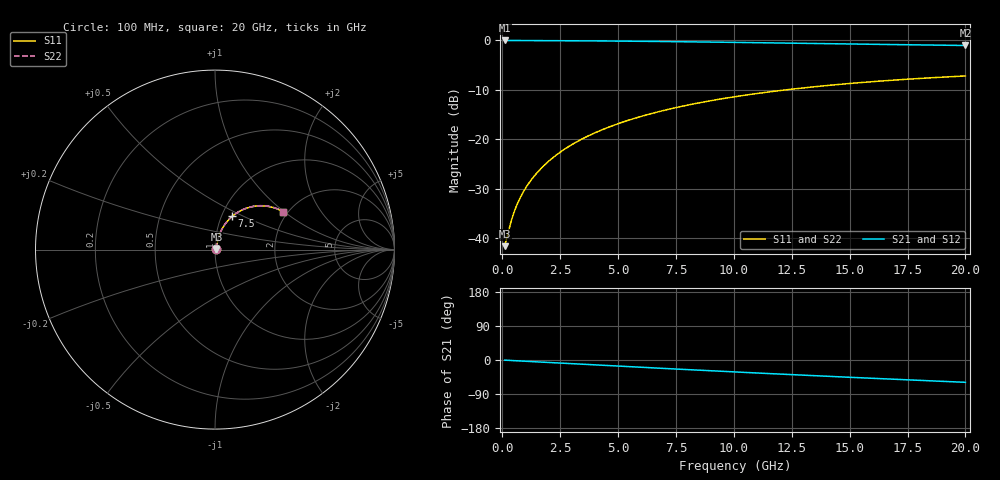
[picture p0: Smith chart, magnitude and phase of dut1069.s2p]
! Touchstone file exported from HFSS 2026.1.0
!  File:  C:/ffzhzh/LocalFiles/Ansys_Project_Files/temp_train_TMRDL_1069_1783160688_55132.aedt
!  Generated:  06:26:17 PM Jul  4, 2026
!  Design:  TMRDL
!  Project:  temp_train_TMRDL_1069_1783160688_55132
! Variables:
!  h_bsmrdl = 2um
!  h_ox = 20um
!  h_rdl = 5um
!  h_sub = 80um
!  h_tmrdl = 2.41um
!  h_tsv = 80um
!  h_via = 3um
!  l_bsmrdl = 300um
!  l_sub = 1354.18um
!  l_tmrdl = 954.18um
!  m_sub = 200um
!  pitch = 35.47um
!  r_tsv = 6um
!  s_tmrdl = 10um
!  w_bsmrdl = 18um
!  w_sub = 500um
!  w_tmrdl = 18.55um
!  x_tsv_center1 = 963.455um
!  x_tsv_center2 = 1281.455um
!  x_tsv_center3 = 2254.185um
!  x_tsv_center4 = 2572.185um
!  x_tsv_center5 = 3544.915um
!  x_tsv_center6 = 3862.915um
# GHz S MA R 50.000000
! Terminal data exported
! Port[1] = TM_RDL1_1_T1
! Port[2] = TM_RDL1_1_T2
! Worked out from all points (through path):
!   200 points, 100 MHz to 20 GHz, reference 50 ohm
!   highest |S21| = -0.07 dB at 100 MHz (marker M1); lowest = -1.1 dB at 20 GHz (marker M2)
!   group delay of S21, straight-line fit = 8.18 ps
!   lowest |S11| = -41.6 dB at 100 MHz (marker M3), VSWR 1.02, Z = 50.8 + j0.337 ohm
!   |S11| at or under -10 dB: start of sweep to 12.3 GHz
!   |S22| runs from -41.6 to -7.2 dB; largest |S21 - S12| = 1e-14
!   S11 on the Smith chart (normalised r, x): 100 MHz: 1.02, +0.01; 7.5 GHz: 1.12, +0.44; 20 GHz: 1.90, +0.98
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0.1  0.008356 23.4  0.9923 -0.3  0.9923 -0.3  0.008355 23.4
! Gamma 0 0 0 0
! Port Impedance 50 0 50 0
0.3  0.01276 49.6  0.9919 -1.0  0.9919 -1.0  0.01276 49.6
0.4  0.01545 55.8  0.9915 -1.4  0.9915 -1.4  0.01545 55.8
0.6  0.02096 62.8  0.9909 -2.0  0.9909 -2.0  0.02096 62.8
0.7  0.02372 65.0  0.9906 -2.3  0.9906 -2.3  0.02372 65.0
0.9  0.02924 68.1  0.9901 -3.0  0.9901 -3.0  0.02924 68.1
1.2  0.03755 70.9  0.9895 -4.0  0.9895 -4.0  0.03755 70.9
1.4  0.04313 72.0  0.9891 -4.6  0.9891 -4.6  0.04313 72.0
1.7  0.05155 73.0  0.9885 -5.6  0.9885 -5.6  0.05154 73.1
2.2  0.06564 73.7  0.9875 -7.2  0.9875 -7.2  0.06563 73.7
2.8  0.08258 73.5  0.986 -9.1  0.986 -9.1  0.08256 73.5
3.5  0.1022 72.5  0.9839 -11.3  0.9839 -11.3  0.1022 72.6
4.2  0.1217 71.1  0.9814 -13.5  0.9814 -13.5  0.1216 71.2
5  0.1435 69.3  0.9781 -16.1  0.9781 -16.1  0.1435 69.3
5.9  0.1676 66.9  0.9739 -18.9  0.9739 -18.9  0.1676 67.0
6.8  0.191 64.5  0.9691 -21.7  0.9691 -21.7  0.1909 64.6
7.5  0.2087 62.6  0.9652 -23.9  0.9652 -23.9  0.2086 62.7
8.7  0.2379 59.2  0.9578 -27.5  0.9578 -27.5  0.2378 59.3
10.1  0.27 55.3  0.9487 -31.7  0.9487 -31.7  0.2699 55.4
13.4  0.3372 46.1  0.9257 -41.2  0.9257 -41.2  0.3371 46.3
16.7  0.3921 37.3  0.9031 -50.2  0.9031 -50.2  0.3919 37.5
20  0.4351 28.9  0.8829 -58.9  0.8829 -58.9  0.4349 29.2
